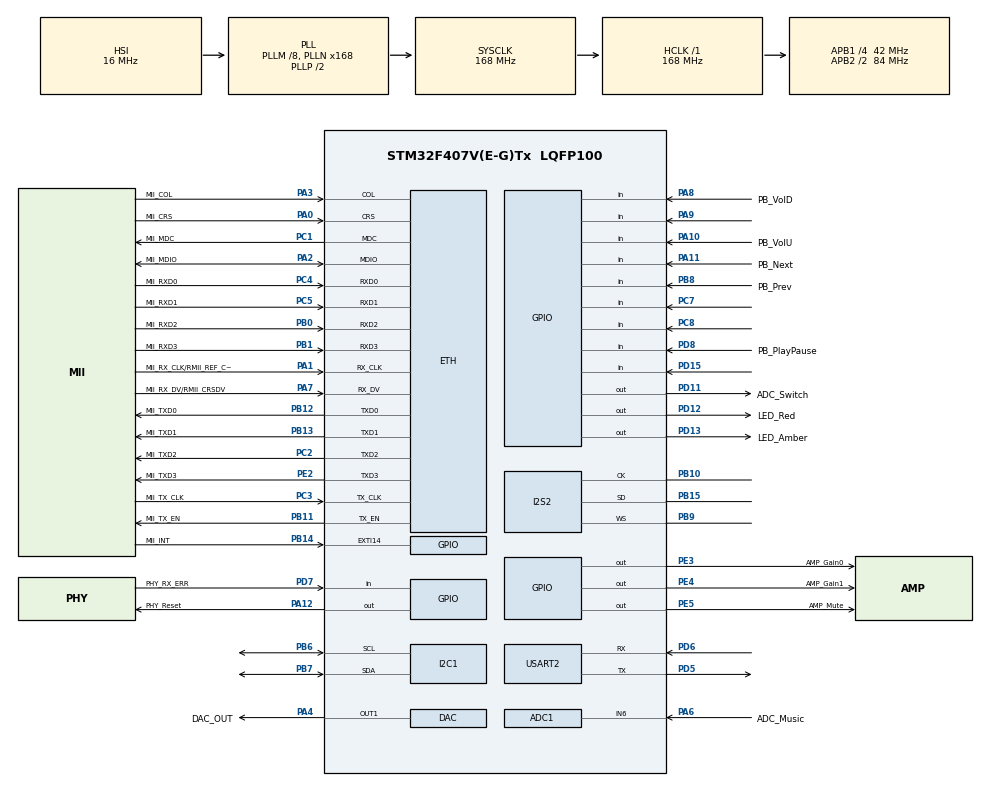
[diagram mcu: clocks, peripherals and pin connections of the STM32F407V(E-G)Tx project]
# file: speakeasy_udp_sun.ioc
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ADC1.Channel-7\#ChannelRegularConversion=ADC_CHANNEL_6
ADC1.ClockPrescaler=ADC_CLOCK_SYNC_PCLK_DIV4
ADC1.ContinuousConvMode=DISABLE
ADC1.DMAContinuousRequests=DISABLE
ADC1.DataAlign=ADC_DATAALIGN_RIGHT
ADC1.DiscontinuousConvMode=DISABLE
ADC1.EOCSelection=ADC_EOC_SINGLE_CONV
ADC1.EnableAnalogWatchDog=false
ADC1.ExternalTrigConv=ADC_SOFTWARE_START
ADC1.ExternalTrigConvEdge=ADC_EXTERNALTRIGCONVEDGE_NONE
ADC1.InjNumberOfConversion=0
ADC1.NbrOfConversion=1
ADC1.NbrOfConversionFlag=1
ADC1.Rank-7\#ChannelRegularConversion=1
ADC1.Resolution=ADC_RESOLUTION_12B
ADC1.SamplingTime-7\#ChannelRegularConversion=ADC_SAMPLETIME_3CYCLES
ADC1.ScanConvMode=DISABLE
ADC1.master=1
Dma.Request0=SPI2_RX
Dma.SPI2_RX.0.Direction=DMA_PERIPH_TO_MEMORY
Dma.SPI2_RX.0.FIFOMode=DMA_FIFOMODE_DISABLE
Dma.SPI2_RX.0.Instance=DMA1_Stream3
Dma.SPI2_RX.0.MemDataAlignment=DMA_MDATAALIGN_HALFWORD
Dma.SPI2_RX.0.MemInc=DMA_MINC_ENABLE
Dma.SPI2_RX.0.Mode=DMA_CIRCULAR
Dma.SPI2_RX.0.PeriphDataAlignment=DMA_PDATAALIGN_HALFWORD
Dma.SPI2_RX.0.PeriphInc=DMA_PINC_DISABLE
Dma.SPI2_RX.0.Priority=DMA_PRIORITY_LOW
ETH.MACAddr=00\:00\:00\:00\:00\:02
ETH.MediaInterface=ETH_MEDIA_INTERFACE_MII
I2S2.AudioFreq=I2S_AUDIOFREQ_16K
I2S2.CPOL=I2S_CPOL_HIGH
I2S2.ErrorAudioFreq=-0.35 %
I2S2.FullDuplexMode=I2S_FULLDUPLEXMODE_DISABLE
I2S2.Instance=SPI$Index
I2S2.Mode=I2S_MODE_MASTER_RX
I2S2.RealAudioFreq=15.943 KHz
I2S2.Standard=I2S_STANDARD_MSB
I2S2.VirtualMode=I2S_MODE_MASTER
LWIP.GATEWAY_ADDRESS=192.168.000.001
LWIP.IP_ADDRESS=192.168.000.002
LWIP.LWIP_DHCP=0
LWIP.LWIP_NETIF_LINK_CALLBACK=1
LWIP.LWIP_NETIF_STATUS_CALLBACK=1
LWIP.LWIP_TCP=0
LWIP.MEMP_NUM_UDP_PCB=2
LWIP.NETMASK_ADDRESS=255.255.255.000
LWIP.Version=v2.0.3_Cube
Mcu.Family=STM32F4
Mcu.Name=STM32F407V(E-G)Tx
Mcu.Package=LQFP100
NVIC.ADC_IRQn=true\:0\:0\:true\:false\:true\:true
NVIC.DMA1_Stream3_IRQn=true\:0\:0\:false\:false\:true\:false
NVIC.ETH_IRQn=true\:0\:0\:false\:false\:true\:true
NVIC.I2C1_ER_IRQn=true\:0\:0\:true\:false\:true\:true
NVIC.I2C1_EV_IRQn=true\:0\:0\:true\:false\:true\:true
NVIC.PriorityGroup=NVIC_PRIORITYGROUP_4
NVIC.SPI2_IRQn=true\:0\:0\:true\:false\:true\:true
NVIC.TIM2_IRQn=true\:0\:0\:true\:false\:true\:true
NVIC.TIM3_IRQn=true\:0\:0\:true\:false\:true\:true
NVIC.TIM4_IRQn=true\:0\:0\:true\:false\:true\:true
NVIC.USART2_IRQn=true\:0\:0\:true\:false\:true\:true
PA0-WKUP.GPIO_Label=MII_CRS
PA0-WKUP.Mode=MII
PA0-WKUP.Signal=ETH_CRS
PA1.GPIO_Label=MII_RX_CLK/RMII_REF_CLK
PA1.Mode=MII
PA1.Signal=ETH_RX_CLK
PA10.GPIO_Label=PB_VolU
PA10.Signal=GPIO_Input
PA11.GPIO_Label=PB_Next
PA11.Signal=GPIO_Input
PA12.GPIO_Label=PHY_Reset
PA12.PinState=GPIO_PIN_SET
PA12.Signal=GPIO_Output
PA13.Mode=Serial_Wire
PA13.Signal=SYS_JTMS-SWDIO
PA14.Mode=Serial_Wire
PA14.Signal=SYS_JTCK-SWCLK
PA2.GPIO_Label=MII_MDIO
PA2.GPIO_PuPd=GPIO_NOPULL
PA2.Mode=MII
PA2.Signal=ETH_MDIO
PA3.GPIO_Label=MII_COL
PA3.Mode=MII
PA3.Signal=ETH_COL
PA4.GPIO_Label=DAC_OUT
PA4.Signal=COMP_DAC1_group
PA6.GPIO_Label=ADC_Music
PA6.Signal=ADCx_IN6
PA7.GPIO_Label=MII_RX_DV/RMII_CRSDV
PA7.Mode=MII
PA7.Signal=ETH_RX_DV
PA8.GPIO_Label=PB_VolD
PA8.Signal=GPIO_Input
PA9.Signal=GPIO_Input
PB0.GPIO_Label=MII_RXD2
PB0.Mode=MII
PB0.Signal=ETH_RXD2
PB1.GPIO_Label=MII_RXD3
PB1.Mode=MII
PB1.Signal=ETH_RXD3
PB10.Mode=Half_Duplex_Master
PB10.Signal=I2S2_CK
PB11.GPIO_Label=MII_TX_EN
PB11.Mode=MII
PB11.Signal=ETH_TX_EN
PB12.GPIO_Label=MII_TXD0
PB12.Mode=MII
PB12.Signal=ETH_TXD0
PB13.GPIO_Label=MII_TXD1
PB13.Mode=MII
PB13.Signal=ETH_TXD1
PB14.GPIO_Label=MII_INT
PB14.Signal=GPXTI14
PB15.Mode=Half_Duplex_Master
PB15.Signal=I2S2_SD
PB6.Mode=I2C
PB6.Signal=I2C1_SCL
PB7.Mode=I2C
PB7.Signal=I2C1_SDA
PB8.GPIO_Label=PB_Prev
PB8.Signal=GPIO_Input
PB9.Mode=Half_Duplex_Master
PB9.Signal=I2S2_WS
PC1.GPIO_Label=MII_MDC
PC1.Mode=MII
PC1.Signal=ETH_MDC
PC2.GPIO_Label=MII_TXD2
PC2.Mode=MII
PC2.Signal=ETH_TXD2
PC3.GPIO_Label=MII_TX_CLK
PC3.Mode=MII
PC3.Signal=ETH_TX_CLK
PC4.GPIO_Label=MII_RXD0
PC4.Mode=MII
PC4.Signal=ETH_RXD0
PC5.GPIO_Label=MII_RXD1
PC5.Mode=MII
PC5.Signal=ETH_RXD1
PC7.Signal=GPIO_Input
PC8.Signal=GPIO_Input
PD11.GPIO_Label=ADC_Switch
PD11.Signal=GPIO_Output
PD12.GPIO_Label=LED_Red
PD12.Signal=GPIO_Output
PD13.GPIO_Label=LED_Amber
PD13.Signal=GPIO_Output
PD15.Signal=GPIO_Input
PD5.Mode=Asynchronous
PD5.Signal=USART2_TX
PD6.Mode=Asynchronous
PD6.Signal=USART2_RX
PD7.GPIO_Label=PHY_RX_ERR
PD7.Signal=GPIO_Input
PD8.GPIO_Label=PB_PlayPause
PD8.Signal=GPIO_Input
PE2.GPIO_Label=MII_TXD3
PE2.Mode=MII
PE2.Signal=ETH_TXD3
PE3.GPIO_Label=AMP_Gain0
PE3.Signal=GPIO_Output
PE4.GPIO_Label=AMP_Gain1
PE4.Signal=GPIO_Output
PE5.GPIO_Label=AMP_Mute
PE5.Signal=GPIO_Output
ProjectManager.HeapSize=0x200
ProjectManager.StackSize=0x400
ProjectManager.TargetToolchain=SW4STM32
RCC.48MHZClocksFreq_Value=84000000
RCC.AHBFreq_Value=168000000
RCC.APB1CLKDivider=RCC_HCLK_DIV4
RCC.APB1Freq_Value=42000000
RCC.APB1TimFreq_Value=84000000
RCC.APB2CLKDivider=RCC_HCLK_DIV2
RCC.APB2Freq_Value=84000000
RCC.APB2TimFreq_Value=168000000
RCC.CortexFreq_Value=168000000
RCC.HCLKFreq_Value=168000000
RCC.HSE_VALUE=8000000
RCC.HSI_VALUE=16000000
RCC.LSE_VALUE=32768
RCC.PLLI2SN=50
RCC.PLLM=8
RCC.PLLN=168
RCC.SYSCLKFreq_VALUE=168000000
RCC.SYSCLKSource=RCC_SYSCLKSOURCE_PLLCLK
RCC.VCOOutputFreq_Value=336000000
SH.ADCx_IN6.0=ADC1_IN6,IN6
SH.COMP_DAC1_group.0=DAC_OUT1,DAC_OUT1
TIM2.Period=1
TIM2.Prescaler=950
TIM3.Period=88
TIM3.Prescaler=953
TIM4.Period=1
TIM4.Prescaler=2618
USART2.VirtualMode=VM_ASYNC
VP_LWIP_VS_Enabled.Mode=Enabled
VP_TIM2_VS_ClockSourceINT.Mode=Internal
VP_TIM3_VS_ClockSourceINT.Mode=Internal
VP_TIM4_VS_ClockSourceINT.Mode=Internal
board=custom

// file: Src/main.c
/**
  ******************************************************************************
  * @file           : main.c
  * @brief          : Main program body
  ******************************************************************************
  * This notice applies to any and all portions of this file
  * that are not between comment pairs USER CODE BEGIN and
  * USER CODE END. Other portions of this file, whether
  * inserted by the user or by software development tools
  * are owned by their respective copyright owners.
  *
  * Copyright (c) 2018 STMicroelectronics International N.V.
  * All rights reserved.
  *
  * Redistribution and use in source and binary forms, with or without
  * modification, are permitted, provided that the following conditions are met:
  *
  * 1. Redistribution of source code must retain the above copyright notice,
  *    this list of conditions and the following disclaimer.
  * 2. Redistributions in binary form must reproduce the above copyright notice,
  *    this list of conditions and the following disclaimer in the documentation
  *    and/or other materials provided with the distribution.
  * 3. Neither the name of STMicroelectronics nor the names of other
  *    contributors to this software may be used to endorse or promote products
  *    derived from this software without specific written permission.
  * 4. This software, including modifications and/or derivative works of this
  *    software, must execute solely and exclusively on microcontroller or
  *    microprocessor devices manufactured by or for STMicroelectronics.
  * 5. Redistribution and use of this software other than as permitted under
  *    this license is void and will automatically terminate your rights under
  *    this license.
  *
  * THIS SOFTWARE IS PROVIDED BY STMICROELECTRONICS AND CONTRIBUTORS "AS IS"
  * AND ANY EXPRESS, IMPLIED OR STATUTORY WARRANTIES, INCLUDING, BUT NOT
  * LIMITED TO, THE IMPLIED WARRANTIES OF MERCHANTABILITY, FITNESS FOR A
  * PARTICULAR PURPOSE AND NON-INFRINGEMENT OF THIRD PARTY INTELLECTUAL PROPERTY
  * RIGHTS ARE DISCLAIMED TO THE FULLEST EXTENT PERMITTED BY LAW. IN NO EVENT
  * SHALL STMICROELECTRONICS OR CONTRIBUTORS BE LIABLE FOR ANY DIRECT, INDIRECT,
  * INCIDENTAL, SPECIAL, EXEMPLARY, OR CONSEQUENTIAL DAMAGES (INCLUDING, BUT NOT
  * LIMITED TO, PROCUREMENT OF SUBSTITUTE GOODS OR SERVICES; LOSS OF USE, DATA,
  * OR PROFITS; OR BUSINESS INTERRUPTION) HOWEVER CAUSED AND ON ANY THEORY OF
  * LIABILITY, WHETHER IN CONTRACT, STRICT LIABILITY, OR TORT (INCLUDING
  * NEGLIGENCE OR OTHERWISE) ARISING IN ANY WAY OUT OF THE USE OF THIS SOFTWARE,
  * EVEN IF ADVISED OF THE POSSIBILITY OF SUCH DAMAGE.
  *
  ******************************************************************************
  */
#include "main.h"
#include "stm32f4xx_hal.h"
#include "lwip.h"

/* USER CODE BEGIN Includes */
#include "udp_sun.h"
#include "audio.h"
/* USER CODE END Includes */

ADC_HandleTypeDef hadc1;

DAC_HandleTypeDef hdac;

I2C_HandleTypeDef hi2c1;

I2S_HandleTypeDef hi2s2;
DMA_HandleTypeDef hdma_spi2_rx;

TIM_HandleTypeDef htim2;
TIM_HandleTypeDef htim3;
TIM_HandleTypeDef htim4;

UART_HandleTypeDef huart2;

/* USER CODE BEGIN PV */
/* Private variables ---------------------------------------------------------*/

// timers
uint32_t msCount = 0;
uint8_t started = 0;

// button debounce
uint8_t buttonPress[5] = {0, 0, 0, 0, 0};
uint8_t buttonPrev[5] = {0, 0, 0, 0, 0};

// ethernet
extern struct netif gnetif;
uint8_t bufferReceived[10];
uint16_t playbackControlRx = NOP;
uint16_t playbackControl[2];

// audio
uint8_t playing = 1;
uint8_t adcDone = 0;
uint16_t audioData = 0;
uint16_t txBuffer[10 * (BUFF_SIZE + 1)];
uint32_t txIndex = 0;
uint8_t playbackStarted = 0;
uint16_t playbackIndex = 0;

// begin ryan
double ampFactor = 1;
uint16_t adcOffset = 2187;

//I2C INIT VARIABLES
uint8_t i2cAddress = 124;
uint8_t i2cMinResistance[2] = {0x00,0x00};
uint8_t i2cDefaultResistance[2] = {0x00, 0x0c};
uint8_t i2cErr = 0;
uint16_t minResHoldReq = 75;
uint16_t maxResHoldReq = 75;
uint16_t msBetweenToggle = 0;
uint8_t toggleNum = 0;

//MICROPHONE INIT VARIABLES
uint16_t datacMic;
const int BUFFER_OFFSET_NONE = 0;
typedef struct {
  int32_t offset;
  uint32_t fptr;
}Audio_BufferTypeDef;
uint8_t pHeaderBuff[44];
uint16_t WrBuffer[WR_BUFFER_SIZE];

__IO uint32_t AUDIODataReady = 0, AUDIOBuffOffset = 0;
static uint16_t RecBuf[PCM_OUT_SIZE];/* PCM stereo samples are saved in RecBuf */
static uint16_t InternalBuffer[INTERNAL_BUFF_SIZE];
__IO uint32_t ITCounter = 0;
int micindex = 0, restart = 0, micOffset = 2048;
Audio_BufferTypeDef  BufferCtl;

//NOISE DETECTION INIT VARIABLES
uint8_t noiseLevel = 0;

uint8_t tmpToggle = 0;

//uint8_t convCplt = 0;
//uint16_t convCount = 0;
//uint16_t convSum = 0;

/* USER CODE END PV */

void SystemClock_Config(void);
static void MX_GPIO_Init(void);
static void MX_DMA_Init(void);
static void MX_DAC_Init(void);
static void MX_ADC1_Init(void);
static void MX_I2C1_Init(void);
static void MX_I2S2_Init(void);
static void MX_USART2_UART_Init(void);
static void MX_TIM2_Init(void);
static void MX_TIM3_Init(void);
static void MX_TIM4_Init(void);

/* USER CODE BEGIN PFP */
/* Private function prototypes -----------------------------------------------*/
void debounceButton();
void checkButtonPress();
void checkADC();
void checkPlaybackControl();

// begin ryan
uint16_t amplify(uint16_t, double);
void I2C_SetMinResistance();
void I2C_SetDefaultResistance();
void Butt_PP();
void Butt_FF();
void Butt_RW();
void Butt_VolUp();
void Butt_VolDown();
void setGain(uint8_t);
/* USER CODE END PFP */

/* USER CODE BEGIN 0 */
void HAL_TIM_PeriodElapsedCallback(TIM_HandleTypeDef * htim) {
	if (htim->Instance == TIM2) {
		if (playbackStarted) {
//			HAL_DAC_SetValue(&hdac, DAC_CHANNEL_1, DAC_ALIGN_12B_R, txBuffer[playbackIndex++]);
			if (playbackIndex == 10 * BUFF_SIZE) {
				playbackIndex = 0;
			}
		}
		HAL_ADC_Start_IT(&hadc1);
//		if (started) {
//			audioData = convSum / convCount;
//			adcDone = 1;
//		}
//		convSum = 0;
//		convCount = 0;
//		convCplt = 1;
	}
	else if (htim->Instance == TIM3) {
		debounceButton();
		if (++msCount == 1000) {
			msCount = 0;
			if (!started) {
				started = 1;
				HAL_GPIO_WritePin(LED_Red_GPIO_Port, LED_Red_Pin, 0);
				HAL_GPIO_WritePin(LED_Amber_GPIO_Port, LED_Amber_Pin, 0);
			}
			setGain(noiseLevel);
		}
		if (++msBetweenToggle > 1000) {
			msBetweenToggle = 1000;
		}
		if(toggleNum > 0){
			switch(toggleNum % 2){
				case 1:
					if(msBetweenToggle >= minResHoldReq){
						I2C_SetDefaultResistance();
						msBetweenToggle = 0;
						toggleNum--;
					}
					break;
				case 0:
					if(msBetweenToggle >= maxResHoldReq){
						I2C_SetMinResistance();
						msBetweenToggle = 0;
						toggleNum--;
					}
					break;
			}
		}
//		if(i2cErr&&msCount == 0){
//			HAL_GPIO_TogglePin(LED_Amber_GPIO_Port,LED_Amber_Pin);
//			HAL_GPIO_TogglePin(LED_Red_GPIO_Port,LED_Red_Pin);
//		}
	}
	else if (htim->Instance == TIM4){
		if(AUDIODataReady){
			if(AUDIOBuffOffset == 0 )
			{
				if(micindex < WR_BUFFER_SIZE/2){
					datacMic = WrBuffer[micindex*2];
//					HAL_GPIO_WritePin(AMP_Gain0_GPIO_Port,AMP_Gain0_Pin,1);
				}else{
					AUDIODataReady = 0;
//					HAL_GPIO_WritePin(AMP_Gain0_GPIO_Port, AMP_Gain0_Pin,0);
//					HAL_GPIO_TogglePin(LED_Red_GPIO_Port,LED_Red_Pin);
					micindex = 0;
				}
			}else{
				restart = 0;
				if(micindex+AUDIOBuffOffset < WR_BUFFER_SIZE){
					datacMic = WrBuffer[micindex*2+AUDIOBuffOffset];
					datacMic = WrBuffer[micindex*2];
				}else{
					AUDIODataReady = 0;
					micindex = 0;
//					HAL_GPIO_TogglePin(AMP_Gain0_GPIO_Port, AMP_Gain0_Pin);
//					HAL_GPIO_TogglePin(GPIOD,GPIO_PIN_12);
				}
			}
		}
		if(AUDIODataReady){
			datacMic &= 0b1111111111110000;
			datacMic = datacMic>>4;
			if(datacMic > micOffset)
				datacMic-=micOffset;
			else if(datacMic<micOffset)
				datacMic += micOffset;
			micindex++;
			noiseLevel = audioProcess(audioData, datacMic, micOffset, adcOffset);
			HAL_DAC_SetValue(&hdac,DAC_CHANNEL_1,DAC_ALIGN_12B_R,datacMic);
		}
	}
}

void HAL_ADC_ConvCpltCallback(ADC_HandleTypeDef * hadc) {
	HAL_GPIO_WritePin(AMP_Gain1_GPIO_Port, AMP_Gain1_Pin, 0);
	audioData = HAL_ADC_GetValue(hadc);
	audioData = amplify(audioData, ampFactor);
	adcDone = 1;
//	convSum += HAL_ADC_GetValue(hadc);
//	convCount++;
//	if (convCount < 1) {
//		convCplt = 1;
//	}
}

void debounceButton() {
	uint8_t buttonIndex = msCount % 5;
	uint8_t buttonCurrent;
	switch (buttonIndex) {
		case 0:
			buttonCurrent = HAL_GPIO_ReadPin(PB_VolD_GPIO_Port, PB_VolD_Pin);
			break;
		case 1:
			buttonCurrent = HAL_GPIO_ReadPin(PB_Prev_GPIO_Port, PB_Prev_Pin);
			break;
		case 2:
			buttonCurrent = HAL_GPIO_ReadPin(PB_PlayPause_GPIO_Port, PB_PlayPause_Pin);
			break;
		case 3:
			buttonCurrent = HAL_GPIO_ReadPin(PB_Next_GPIO_Port, PB_Next_Pin);
			break;
		case 4:
			buttonCurrent = HAL_GPIO_ReadPin(PB_VolU_GPIO_Port, PB_VolU_Pin);
			break;
		default:
			buttonCurrent = 0;
			break;
	}
	buttonPress[buttonIndex] = !buttonPrev[buttonIndex] && buttonCurrent;
	buttonPrev[buttonIndex] = buttonCurrent;
}

void checkButtonPress() {
	for (uint8_t i = 0; i < 5; i++) {
	  if (buttonPress[i]) {
		  switch (i) {
			  case 0:
				  Butt_VolDown();
				  break;
			  case 1:
				  if (!toggleNum) {
					  Butt_RW();
				  }
				  break;
			  case 2:	//Play Pause
				  if (!toggleNum) {
					  Butt_PP();
				  }
				  playing ^= 1;
				  playbackControl[0] = Pause - playing;
				  udp_scratch_send(&playbackControl[0], 2);
				  break;
			  case 3:
				  if (!toggleNum) {
					  Butt_FF();
				  }
				  break;
			  case 4:
				  Butt_VolUp();
				  break;
			  default:
				  break;
		  }
	  }
	  buttonPress[i] = 0;
	}
}

void checkADC() {
	if (adcDone && started) {
		adcDone = 0;
		txBuffer[txIndex++] = audioData;
		if (txIndex % BUFF_SIZE == 0) {
			bufferReceived[(txIndex - 1) / BUFF_SIZE] = 0;
			udp_scratch_send_audio(&txBuffer[txIndex - BUFF_SIZE], BUFF_SIZE, (txIndex - 1) / BUFF_SIZE);
			if (!playbackStarted && txIndex == 6 * BUFF_SIZE) {
				playbackStarted = 1;
			}
			if (txIndex == 10 * BUFF_SIZE) {
				txIndex = 0;
			}
		}
	}
}

void checkPlaybackControl() {
	if (playbackControlRx != NOP) {
		switch (playbackControlRx) {
			case Vol_D:
				Butt_VolDown();
				break;
			case Prev:
				Butt_RW();
				break;
			case Play:
				Butt_PP();
				playing = 1;
				break;
			case Pause:
				Butt_PP();
				playing = 0;
				break;
			case Next:
				Butt_FF();
				break;
			case Vol_U:
				Butt_VolUp();
				break;
		}
		playbackControlRx = NOP;
//		HAL_GPIO_WritePin(AMP_Mute_GPIO_Port, AMP_Mute_Pin, playing);
	}
}

uint16_t amplify(uint16_t in, double factor){
	double out=adcOffset;
	if(in > adcOffset){
		out+=(in-adcOffset)*factor;
	}else{
		out-=(adcOffset-in)*factor;
	}
	return (uint16_t) out;
}
void I2C_SetMinResistance(){
	HAL_I2C_Master_Transmit(&hi2c1,i2cAddress,i2cMinResistance,2,10);
}
void I2C_SetDefaultResistance(){
	HAL_I2C_Master_Transmit(&hi2c1,i2cAddress,i2cDefaultResistance,2,10);
}
void Butt_PP(){
	toggleNum = 2;
}
void Butt_FF(){
	toggleNum = 4;
}
void Butt_RW(){
	toggleNum = 6;
}
void Butt_VolUp(){
	if(ampFactor < 1.5)
		ampFactor+=.1;
}
void Butt_VolDown(){
	if(ampFactor > .5)
		ampFactor-=.1;
}
void setGain(uint8_t level){
	  switch(level){
	  case 0:
		  playbackControl[0] = Gain0;
		  udp_scratch_send(&playbackControl[0], 2);
		  HAL_GPIO_WritePin(LED_Amber_GPIO_Port,LED_Amber_Pin,0);
		  HAL_GPIO_WritePin(LED_Red_GPIO_Port,LED_Red_Pin,0);
		  break;
	  case 1:
		  playbackControl[0] = Gain1;
		  udp_scratch_send(&playbackControl[0], 2);
		  HAL_GPIO_WritePin(LED_Amber_GPIO_Port,LED_Amber_Pin,0);
		  HAL_GPIO_WritePin(LED_Red_GPIO_Port,LED_Red_Pin,1);
		  break;
	  case 2:
		  playbackControl[0] = Gain2;
		  udp_scratch_send(&playbackControl[0], 2);
		  HAL_GPIO_WritePin(LED_Amber_GPIO_Port,LED_Amber_Pin,1);
		  HAL_GPIO_WritePin(LED_Red_GPIO_Port,LED_Red_Pin,0);
		  break;
	  case 3:
		  playbackControl[0] = Gain3;
		  udp_scratch_send(&playbackControl[0], 2);
		  HAL_GPIO_WritePin(LED_Amber_GPIO_Port,LED_Amber_Pin,1);
		  HAL_GPIO_WritePin(LED_Red_GPIO_Port,LED_Red_Pin,1);
		  break;
	  }
}
void BSP_AUDIO_IN_HalfTransfer_CallBack(void)
{
  /* PDM to PCM data convert */
  BSP_AUDIO_IN_PDMToPCM((uint16_t*)&InternalBuffer[0], (uint16_t*)&RecBuf[0]);

  /* Copy PCM data in internal buffer */
  memcpy((uint16_t*)&WrBuffer[ITCounter * (PCM_OUT_SIZE*2)], RecBuf, PCM_OUT_SIZE*4);

  BufferCtl.offset = BUFFER_OFFSET_NONE;

  if(ITCounter == (WR_BUFFER_SIZE/(PCM_OUT_SIZE*4))-1)
  {
    AUDIODataReady = 1;
    AUDIOBuffOffset = 0;
    ITCounter++;
  }
  else if(ITCounter == (WR_BUFFER_SIZE/(PCM_OUT_SIZE*2))-1)
  {
    AUDIODataReady = 1;
    AUDIOBuffOffset = WR_BUFFER_SIZE/2;
    ITCounter = 0;
    if(micindex != 0){
    	HAL_GPIO_WritePin(GPIOD,GPIO_PIN_13,1);
    }
    restart = 1;
  }
  else
  {
    ITCounter++;
  }
}
void BSP_AUDIO_IN_TransferComplete_CallBack(void)
{
  /* PDM to PCM data convert */
  BSP_AUDIO_IN_PDMToPCM((uint16_t*)&InternalBuffer[INTERNAL_BUFF_SIZE/2], (uint16_t*)&RecBuf[0]);

  /* Copy PCM data in internal buffer */
  memcpy((uint16_t*)&WrBuffer[ITCounter * (PCM_OUT_SIZE*2)], RecBuf, PCM_OUT_SIZE*4);

  BufferCtl.offset = BUFFER_OFFSET_NONE;

  if(ITCounter == (WR_BUFFER_SIZE/(PCM_OUT_SIZE*4))-1)
  {
    AUDIODataReady = 1;
    AUDIOBuffOffset = 0;
    ITCounter++;

  }
  else if(ITCounter == (WR_BUFFER_SIZE/(PCM_OUT_SIZE*2))-1)
  {
    AUDIODataReady = 1;
    AUDIOBuffOffset = WR_BUFFER_SIZE/2;
    ITCounter = 0;
    restart = 1;
    if(micindex != 0){
    	HAL_GPIO_WritePin(GPIOD,GPIO_PIN_13,1);
    }
  }
  else
  {
    ITCounter++;
  }
}
/* USER CODE END 0 */

int main(void)
{

  /* MCU Configuration----------------------------------------------------------*/

  /* Reset of all peripherals, Initializes the Flash interface and the Systick. */
  HAL_Init();

  /* Configure the system clock */
  SystemClock_Config();

  /* Initialize all configured peripherals */
  MX_GPIO_Init();
  MX_DMA_Init();
  MX_LWIP_Init();
  MX_DAC_Init();
  MX_ADC1_Init();
  MX_I2C1_Init();
  MX_I2S2_Init();
  MX_USART2_UART_Init();
  MX_TIM2_Init();
  MX_TIM3_Init();
  MX_TIM4_Init();
  /* USER CODE BEGIN 2 */
	err_t errout = ethernetif_init(&gnetif);
	HAL_GPIO_WritePin(LED_Red_GPIO_Port, LED_Red_Pin, errout != ERR_OK);
	HAL_GPIO_WritePin(LED_Amber_GPIO_Port, LED_Amber_Pin, netif_is_up(&gnetif));
	udp_scratch_connect();
	HAL_DAC_Start(&hdac, DAC_CHANNEL_1);
	BSP_AUDIO_IN_Init(DEFAULT_AUDIO_IN_FREQ,DEFAULT_AUDIO_IN_BIT_RESOLUTION,DEFAULT_AUDIO_IN_CHANNEL_NBR);
	BSP_AUDIO_IN_Record(hi2s2,(uint16_t*)&InternalBuffer[0], INTERNAL_BUFF_SIZE);
	HAL_Delay(3000);
	HAL_TIM_Base_Start_IT(&htim2);
	HAL_TIM_Base_Start_IT(&htim3);
	HAL_TIM_Base_Start_IT(&htim4);
	I2C_SetDefaultResistance();
	playbackControl[1] = NOP;
  /* USER CODE END 2 */

  /* Infinite loop */
  /* USER CODE BEGIN WHILE */
	while (1)
	{
		ethernetif_set_link(&gnetif);
		ethernetif_input(&gnetif);
		checkButtonPress();
		checkADC();
		checkPlaybackControl();
//		if (convCplt) {
//			convCplt = 0;
//			HAL_GPIO_WritePin(AMP_Gain1_GPIO_Port, AMP_Gain1_Pin, 1);
//			HAL_ADC_Start_IT(&hadc1);
//		}
  /* USER CODE END WHILE */

	}

}

void SystemClock_Config(void)
{

  RCC_OscInitTypeDef RCC_OscInitStruct;
  RCC_ClkInitTypeDef RCC_ClkInitStruct;
  RCC_PeriphCLKInitTypeDef PeriphClkInitStruct;

    /**Configure the main internal regulator output voltage
    */
  __HAL_RCC_PWR_CLK_ENABLE();

  __HAL_PWR_VOLTAGESCALING_CONFIG(PWR_REGULATOR_VOLTAGE_SCALE1);

    /**Initializes the CPU, AHB and APB busses clocks
    */
  RCC_OscInitStruct.OscillatorType = RCC_OSCILLATORTYPE_HSI;
  RCC_OscInitStruct.HSIState = RCC_HSI_ON;
  RCC_OscInitStruct.HSICalibrationValue = 16;
  RCC_OscInitStruct.PLL.PLLState = RCC_PLL_ON;
  RCC_OscInitStruct.PLL.PLLSource = RCC_PLLSOURCE_HSI;
  RCC_OscInitStruct.PLL.PLLM = 8;
  RCC_OscInitStruct.PLL.PLLN = 168;
  RCC_OscInitStruct.PLL.PLLP = RCC_PLLP_DIV2;
  RCC_OscInitStruct.PLL.PLLQ = 4;
  if (HAL_RCC_OscConfig(&RCC_OscInitStruct) != HAL_OK)
  {
    _Error_Handler(__FILE__, __LINE__);
  }

    /**Initializes the CPU, AHB and APB busses clocks
    */
  RCC_ClkInitStruct.ClockType = RCC_CLOCKTYPE_HCLK|RCC_CLOCKTYPE_SYSCLK
                              |RCC_CLOCKTYPE_PCLK1|RCC_CLOCKTYPE_PCLK2;
  RCC_ClkInitStruct.SYSCLKSource = RCC_SYSCLKSOURCE_PLLCLK;
  RCC_ClkInitStruct.AHBCLKDivider = RCC_SYSCLK_DIV1;
  RCC_ClkInitStruct.APB1CLKDivider = RCC_HCLK_DIV4;
  RCC_ClkInitStruct.APB2CLKDivider = RCC_HCLK_DIV2;

  if (HAL_RCC_ClockConfig(&RCC_ClkInitStruct, FLASH_LATENCY_5) != HAL_OK)
  {
    _Error_Handler(__FILE__, __LINE__);
  }

  PeriphClkInitStruct.PeriphClockSelection = RCC_PERIPHCLK_I2S;
  PeriphClkInitStruct.PLLI2S.PLLI2SN = 50;
  PeriphClkInitStruct.PLLI2S.PLLI2SR = 2;
  if (HAL_RCCEx_PeriphCLKConfig(&PeriphClkInitStruct) != HAL_OK)
  {
    _Error_Handler(__FILE__, __LINE__);
  }

    /**Configure the Systick interrupt time
    */
  HAL_SYSTICK_Config(HAL_RCC_GetHCLKFreq()/1000);

    /**Configure the Systick
    */
  HAL_SYSTICK_CLKSourceConfig(SYSTICK_CLKSOURCE_HCLK);

  /* SysTick_IRQn interrupt configuration */
  HAL_NVIC_SetPriority(SysTick_IRQn, 0, 0);
}

/* ADC1 init function */
static void MX_ADC1_Init(void)
{

  ADC_ChannelConfTypeDef sConfig;

    /**Configure the global features of the ADC (Clock, Resolution, Data Alignment and number of conversion)
    */
  hadc1.Instance = ADC1;
  hadc1.Init.ClockPrescaler = ADC_CLOCK_SYNC_PCLK_DIV4;
  hadc1.Init.Resolution = ADC_RESOLUTION_12B;
  hadc1.Init.ScanConvMode = DISABLE;
  hadc1.Init.ContinuousConvMode = DISABLE;
  hadc1.Init.DiscontinuousConvMode = DISABLE;
  hadc1.Init.ExternalTrigConvEdge = ADC_EXTERNALTRIGCONVEDGE_NONE;
  hadc1.Init.ExternalTrigConv = ADC_SOFTWARE_START;
  hadc1.Init.DataAlign = ADC_DATAALIGN_RIGHT;
  hadc1.Init.NbrOfConversion = 1;
  hadc1.Init.DMAContinuousRequests = DISABLE;
  hadc1.Init.EOCSelection = ADC_EOC_SINGLE_CONV;
  if (HAL_ADC_Init(&hadc1) != HAL_OK)
  {
    _Error_Handler(__FILE__, __LINE__);
  }

    /**Configure for the selected ADC regular channel its corresponding rank in the sequencer and its sample time.
    */
  sConfig.Channel = ADC_CHANNEL_6;
  sConfig.Rank = 1;
  sConfig.SamplingTime = ADC_SAMPLETIME_3CYCLES;
  if (HAL_ADC_ConfigChannel(&hadc1, &sConfig) != HAL_OK)
  {
    _Error_Handler(__FILE__, __LINE__);
  }

}

/* DAC init function */
static void MX_DAC_Init(void)
{

  DAC_ChannelConfTypeDef sConfig;

    /**DAC Initialization
    */
  hdac.Instance = DAC;
  if (HAL_DAC_Init(&hdac) != HAL_OK)
  {
    _Error_Handler(__FILE__, __LINE__);
  }

    /**DAC channel OUT1 config
    */
  sConfig.DAC_Trigger = DAC_TRIGGER_NONE;
  sConfig.DAC_OutputBuffer = DAC_OUTPUTBUFFER_ENABLE;
  if (HAL_DAC_ConfigChannel(&hdac, &sConfig, DAC_CHANNEL_1) != HAL_OK)
  {
    _Error_Handler(__FILE__, __LINE__);
  }

}

/* I2C1 init function */
static void MX_I2C1_Init(void)
{

  hi2c1.Instance = I2C1;
  hi2c1.Init.ClockSpeed = 100000;
  hi2c1.Init.DutyCycle = I2C_DUTYCYCLE_2;
  hi2c1.Init.OwnAddress1 = 0;
  hi2c1.Init.AddressingMode = I2C_ADDRESSINGMODE_7BIT;
  hi2c1.Init.DualAddressMode = I2C_DUALADDRESS_DISABLE;
  hi2c1.Init.OwnAddress2 = 0;
  hi2c1.Init.GeneralCallMode = I2C_GENERALCALL_DISABLE;
  hi2c1.Init.NoStretchMode = I2C_NOSTRETCH_DISABLE;
  if (HAL_I2C_Init(&hi2c1) != HAL_OK)
  {
    _Error_Handler(__FILE__, __LINE__);
  }

}

/* I2S2 init function */
static void MX_I2S2_Init(void)
{

  hi2s2.Instance = SPI2;
  hi2s2.Init.Mode = I2S_MODE_MASTER_RX;
  hi2s2.Init.Standard = I2S_STANDARD_MSB;
  hi2s2.Init.DataFormat = I2S_DATAFORMAT_16B;
  hi2s2.Init.MCLKOutput = I2S_MCLKOUTPUT_DISABLE;
  hi2s2.Init.AudioFreq = I2S_AUDIOFREQ_16K;
  hi2s2.Init.CPOL = I2S_CPOL_HIGH;
  hi2s2.Init.ClockSource = I2S_CLOCK_PLL;
  hi2s2.Init.FullDuplexMode = I2S_FULLDUPLEXMODE_DISABLE;
  if (HAL_I2S_Init(&hi2s2) != HAL_OK)
  {
    _Error_Handler(__FILE__, __LINE__);
  }

}

/* TIM2 init function */
static void MX_TIM2_Init(void)
{

  TIM_ClockConfigTypeDef sClockSourceConfig;
  TIM_MasterConfigTypeDef sMasterConfig;

  htim2.Instance = TIM2;
  htim2.Init.Prescaler = 950;
  htim2.Init.CounterMode = TIM_COUNTERMODE_UP;
  htim2.Init.Period = 1;
  htim2.Init.ClockDivision = TIM_CLOCKDIVISION_DIV1;
  if (HAL_TIM_Base_Init(&htim2) != HAL_OK)
  {
    _Error_Handler(__FILE__, __LINE__);
  }

  sClockSourceConfig.ClockSource = TIM_CLOCKSOURCE_INTERNAL;
  if (HAL_TIM_ConfigClockSource(&htim2, &sClockSourceConfig) != HAL_OK)
  {
    _Error_Handler(__FILE__, __LINE__);
  }

  sMasterConfig.MasterOutputTrigger = TIM_TRGO_RESET;
  sMasterConfig.MasterSlaveMode = TIM_MASTERSLAVEMODE_DISABLE;
  if (HAL_TIMEx_MasterConfigSynchronization(&htim2, &sMasterConfig) != HAL_OK)
  {
    _Error_Handler(__FILE__, __LINE__);
  }

}

/* TIM3 init function */
static void MX_TIM3_Init(void)
{

  TIM_ClockConfigTypeDef sClockSourceConfig;
  TIM_MasterConfigTypeDef sMasterConfig;

  htim3.Instance = TIM3;
  htim3.Init.Prescaler = 953;
  htim3.Init.CounterMode = TIM_COUNTERMODE_UP;
  htim3.Init.Period = 88;
  htim3.Init.ClockDivision = TIM_CLOCKDIVISION_DIV1;
  if (HAL_TIM_Base_Init(&htim3) != HAL_OK)
  {
    _Error_Handler(__FILE__, __LINE__);
  }

  sClockSourceConfig.ClockSource = TIM_CLOCKSOURCE_INTERNAL;
  if (HAL_TIM_ConfigClockSource(&htim3, &sClockSourceConfig) != HAL_OK)
  {
    _Error_Handler(__FILE__, __LINE__);
  }

  sMasterConfig.MasterOutputTrigger = TIM_TRGO_RESET;
  sMasterConfig.MasterSlaveMode = TIM_MASTERSLAVEMODE_DISABLE;
  if (HAL_TIMEx_MasterConfigSynchronization(&htim3, &sMasterConfig) != HAL_OK)
  {
    _Error_Handler(__FILE__, __LINE__);
  }

}

/* TIM4 init function */
static void MX_TIM4_Init(void)
{

  TIM_ClockConfigTypeDef sClockSourceConfig;
  TIM_MasterConfigTypeDef sMasterConfig;

  htim4.Instance = TIM4;
  htim4.Init.Prescaler = 1309*2;
  htim4.Init.CounterMode = TIM_COUNTERMODE_UP;
  htim4.Init.Period = 1;
  htim4.Init.ClockDivision = TIM_CLOCKDIVISION_DIV1;
  if (HAL_TIM_Base_Init(&htim4) != HAL_OK)
  {
    _Error_Handler(__FILE__, __LINE__);
  }

  sClockSourceConfig.ClockSource = TIM_CLOCKSOURCE_INTERNAL;
  if (HAL_TIM_ConfigClockSource(&htim4, &sClockSourceConfig) != HAL_OK)
  {
    _Error_Handler(__FILE__, __LINE__);
  }

  sMasterConfig.MasterOutputTrigger = TIM_TRGO_RESET;
  sMasterConfig.MasterSlaveMode = TIM_MASTERSLAVEMODE_DISABLE;
  if (HAL_TIMEx_MasterConfigSynchronization(&htim4, &sMasterConfig) != HAL_OK)
  {
    _Error_Handler(__FILE__, __LINE__);
  }

}

/* USART2 init function */
static void MX_USART2_UART_Init(void)
{

  huart2.Instance = USART2;
  huart2.Init.BaudRate = 115200;
  huart2.Init.WordLength = UART_WORDLENGTH_8B;
  huart2.Init.StopBits = UART_STOPBITS_1;
  huart2.Init.Parity = UART_PARITY_NONE;
  huart2.Init.Mode = UART_MODE_TX_RX;
  huart2.Init.HwFlowCtl = UART_HWCONTROL_NONE;
  huart2.Init.OverSampling = UART_OVERSAMPLING_16;
  if (HAL_UART_Init(&huart2) != HAL_OK)
  {
    _Error_Handler(__FILE__, __LINE__);
  }

}

static void MX_DMA_Init(void)
{
  /* DMA controller clock enable */
  __HAL_RCC_DMA1_CLK_ENABLE();

  /* DMA interrupt init */
  /* DMA1_Stream3_IRQn interrupt configuration */
  HAL_NVIC_SetPriority(DMA1_Stream3_IRQn, 0, 0);
  HAL_NVIC_EnableIRQ(DMA1_Stream3_IRQn);

}

/** Configure pins as
        * Analog
        * Input
        * Output
        * EVENT_OUT
        * EXTI
*/
static void MX_GPIO_Init(void)
{

  GPIO_InitTypeDef GPIO_InitStruct;

  /* GPIO Ports Clock Enable */
  __HAL_RCC_GPIOE_CLK_ENABLE();
  __HAL_RCC_GPIOC_CLK_ENABLE();
  __HAL_RCC_GPIOA_CLK_ENABLE();
  __HAL_RCC_GPIOB_CLK_ENABLE();
  __HAL_RCC_GPIOD_CLK_ENABLE();

  /*Configure GPIO pin Output Level */
  HAL_GPIO_WritePin(GPIOE, AMP_Gain0_Pin|AMP_Gain1_Pin|AMP_Mute_Pin, GPIO_PIN_RESET);

  /*Configure GPIO pin Output Level */
  HAL_GPIO_WritePin(GPIOD, ADC_Switch_Pin|LED_Red_Pin|LED_Amber_Pin, GPIO_PIN_RESET);

  /*Configure GPIO pin Output Level */
  HAL_GPIO_WritePin(PHY_Reset_GPIO_Port, PHY_Reset_Pin, GPIO_PIN_SET);

  /*Configure GPIO pins : AMP_Gain0_Pin AMP_Gain1_Pin AMP_Mute_Pin */
  GPIO_InitStruct.Pin = AMP_Gain0_Pin|AMP_Gain1_Pin|AMP_Mute_Pin;
  GPIO_InitStruct.Mode = GPIO_MODE_OUTPUT_PP;
  GPIO_InitStruct.Pull = GPIO_NOPULL;
  GPIO_InitStruct.Speed = GPIO_SPEED_FREQ_LOW;
  HAL_GPIO_Init(GPIOE, &GPIO_InitStruct);

  /*Configure GPIO pin : MII_INT_Pin */
  GPIO_InitStruct.Pin = MII_INT_Pin;
  GPIO_InitStruct.Mode = GPIO_MODE_IT_RISING;
  GPIO_InitStruct.Pull = GPIO_NOPULL;
  HAL_GPIO_Init(MII_INT_GPIO_Port, &GPIO_InitStruct);

  /*Configure GPIO pins : PB_PlayPause_Pin PD15 PHY_RX_ERR_Pin */
  GPIO_InitStruct.Pin = PB_PlayPause_Pin|GPIO_PIN_15|PHY_RX_ERR_Pin;
  GPIO_InitStruct.Mode = GPIO_MODE_INPUT;
  GPIO_InitStruct.Pull = GPIO_NOPULL;
  HAL_GPIO_Init(GPIOD, &GPIO_InitStruct);

  /*Configure GPIO pins : ADC_Switch_Pin LED_Red_Pin LED_Amber_Pin */
  GPIO_InitStruct.Pin = ADC_Switch_Pin|LED_Red_Pin|LED_Amber_Pin;
  GPIO_InitStruct.Mode = GPIO_MODE_OUTPUT_PP;
  GPIO_InitStruct.Pull = GPIO_NOPULL;
  GPIO_InitStruct.Speed = GPIO_SPEED_FREQ_LOW;
  HAL_GPIO_Init(GPIOD, &GPIO_InitStruct);

  /*Configure GPIO pins : PC7 PC8 */
  GPIO_InitStruct.Pin = GPIO_PIN_7|GPIO_PIN_8;
  GPIO_InitStruct.Mode = GPIO_MODE_INPUT;
  GPIO_InitStruct.Pull = GPIO_NOPULL;
  HAL_GPIO_Init(GPIOC, &GPIO_InitStruct);

  /*Configure GPIO pins : PB_VolD_Pin PA9 PB_VolU_Pin PB_Next_Pin */
  GPIO_InitStruct.Pin = PB_VolD_Pin|GPIO_PIN_9|PB_VolU_Pin|PB_Next_Pin;
  GPIO_InitStruct.Mode = GPIO_MODE_INPUT;
  GPIO_InitStruct.Pull = GPIO_NOPULL;
  HAL_GPIO_Init(GPIOA, &GPIO_InitStruct);

  /*Configure GPIO pin : PHY_Reset_Pin */
  GPIO_InitStruct.Pin = PHY_Reset_Pin;
  GPIO_InitStruct.Mode = GPIO_MODE_OUTPUT_PP;
  GPIO_InitStruct.Pull = GPIO_NOPULL;
  GPIO_InitStruct.Speed = GPIO_SPEED_FREQ_LOW;
  HAL_GPIO_Init(PHY_Reset_GPIO_Port, &GPIO_InitStruct);

  /*Configure GPIO pin : PB_Prev_Pin */
  GPIO_InitStruct.Pin = PB_Prev_Pin;
  GPIO_InitStruct.Mode = GPIO_MODE_INPUT;
  GPIO_InitStruct.Pull = GPIO_NOPULL;
  HAL_GPIO_Init(PB_Prev_GPIO_Port, &GPIO_InitStruct);

}

void _Error_Handler(char *file, int line)
{
  while(1)
  {
  }
}

/************************ (C) COPYRIGHT STMicroelectronics *****END OF FILE****/
